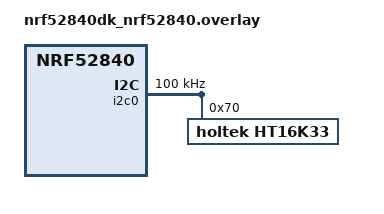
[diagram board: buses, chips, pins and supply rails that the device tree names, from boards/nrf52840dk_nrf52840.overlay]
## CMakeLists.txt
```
# SPDX-License-Identifier: Apache-2.0

cmake_minimum_required(VERSION 3.20.0)

find_package(Zephyr REQUIRED HINTS $ENV{ZEPHYR_BASE})
project(ht16k33)

FILE(GLOB app_sources src/*.c)
target_sources(app PRIVATE ${app_sources})
```

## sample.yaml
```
sample:
  description: Demonstration of the HT16K33 LED driver with keyscan
  name: HT16K33 sample
tests:
  sample.drivers.ht16k33:
    platform_allow: nrf52840dk/nrf52840
    harness: TBD
    tags: LED
```

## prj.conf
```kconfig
CONFIG_LOG=y
CONFIG_I2C=y
CONFIG_LED=y
CONFIG_KSCAN=y
CONFIG_INPUT=y
CONFIG_HT16K33_KEYSCAN=y
```

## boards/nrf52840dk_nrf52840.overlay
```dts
/*
 * Copyright (c) 2019 Henrik Brix Andersen <henrik@brixandersen.dk>
 *
 * SPDX-License-Identifier: Apache-2.0
 */

&i2c0 {
	clock-frequency = <I2C_BITRATE_STANDARD>;

	ht16k33@70 {
		compatible = "holtek,ht16k33";
		reg = <0x70>;
		/* Uncomment to use IRQ instead of polling: */
		/* irq-gpios = <&gpio1 8 (GPIO_PULL_UP | GPIO_ACTIVE_LOW)>; */

		kscan-input {
			compatible = "zephyr,kscan-input";
		};
	};
};
```

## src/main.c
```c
/*
 * Copyright (c) 2019 Henrik Brix Andersen <henrik@brixandersen.dk>
 *
 * SPDX-License-Identifier: Apache-2.0
 */

#include <zephyr/drivers/led.h>
#include <zephyr/drivers/kscan.h>
#include <zephyr/devicetree.h>
#include <zephyr/kernel.h>
#include <zephyr/logging/log.h>

LOG_MODULE_REGISTER(main, CONFIG_LOG_DEFAULT_LEVEL);

#define LED_NODE DT_COMPAT_GET_ANY_STATUS_OKAY(holtek_ht16k33)
#define KEY_NODE DT_CHILD(LED_NODE, kscan_input)

static void keyscan_callback(const struct device *dev, uint32_t row,
			     uint32_t column, bool pressed)
{
	LOG_INF("Row %d, column %d %s", row, column,
		pressed ? "pressed" : "released");
}

int main(void)
{
	const struct device *const led = DEVICE_DT_GET(LED_NODE);
	const struct device *const key = DEVICE_DT_GET(KEY_NODE);
	int err;
	int i;

	if (!device_is_ready(led)) {
		LOG_ERR("LED device not ready");
		return 0;
	}

	if (!device_is_ready(key)) {
		LOG_ERR("Keyscan device not ready");
		return 0;
	}

	err = kscan_config(key, keyscan_callback);
	if (err) {
		LOG_ERR("Failed to add keyscan callback (err %d)", err);
	}

	while (1) {
		LOG_INF("Iterating through all LEDs, turning them on "
			"one-by-one");
		for (i = 0; i < 128; i++) {
			led_on(led, i);
			k_sleep(K_MSEC(100));
		}

		for (i = 500; i <= 2000; i *= 2) {
			LOG_INF("Blinking LEDs with a period of %d ms", i);
			led_blink(led, 0, i / 2, i / 2);
			k_msleep(10 * i);
		}
		led_blink(led, 0, 0, 0);

		for (i = 100; i >= 0; i -= 10) {
			LOG_INF("Setting LED brightness to %d%%", i);
			led_set_brightness(led, 0, i);
			k_sleep(K_MSEC(1000));
		}

		LOG_INF("Turning all LEDs off and restoring 100%% brightness");
		for (i = 0; i < 128; i++) {
			led_off(led, i);
		}
		led_set_brightness(led, 0, 100);
	}
	return 0;
}
```
